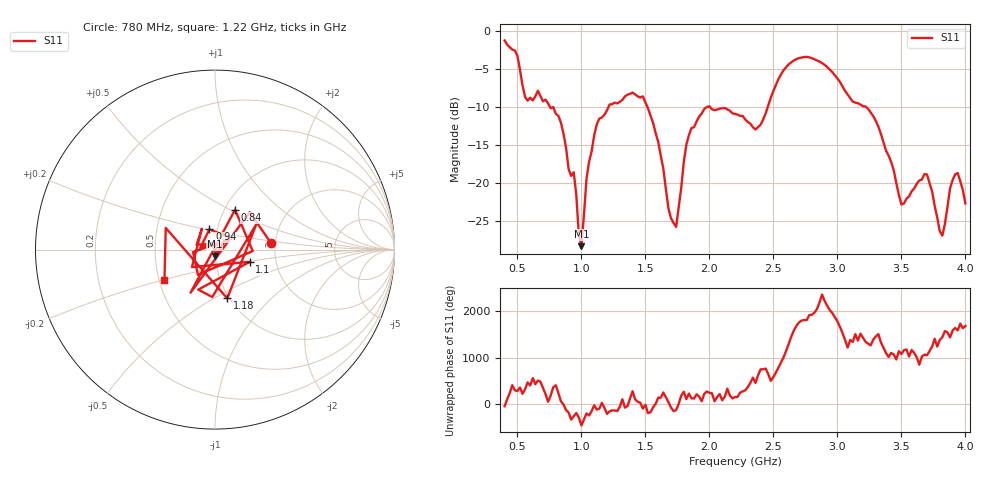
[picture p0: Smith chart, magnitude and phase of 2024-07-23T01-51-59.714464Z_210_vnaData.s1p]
!Created with skrf (http://scikit-rf.org).
# Hz S RI R 50.0
!freq ReS11 ImS11
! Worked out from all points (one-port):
!   181 points, 400 MHz to 4 GHz, reference 50 ohm
!   lowest |S11| = -28.4 dB at 1 GHz (marker M1), VSWR 1.08, Z = 49.8 - j3.8 ohm
!   |S11| at or under -10 dB: 753.9 MHz to 1.212 GHz (458.2 MHz wide, 46.6 % of centre); 1.515 GHz to 1.987 GHz (472.1 MHz wide, 27 % of centre); 3.223 GHz to end of sweep (the widest 3 of 4)
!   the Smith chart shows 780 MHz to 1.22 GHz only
!   S11 on the Smith chart (normalised r, x): 780 MHz: 1.91, +0.15; 840 MHz: 1.12, +0.53; 940 MHz: 0.92, +0.21; 1.1 GHz: 1.46, -0.21; 1.18 GHz: 0.98, -0.58; 1.22 GHz: 0.53, -0.20
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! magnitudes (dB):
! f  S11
! 400 MHz  -1.3
! 580 MHz  -9.2
! 780 MHz  -10.0
! 840 MHz  -12.1
! 860 MHz  -13.5
! 940 MHz  -18.6
! 1 GHz  -28.4
! 1.04 GHz  -19.5
! 1.1 GHz  -13.7
! 1.18 GHz  -11.1
! 1.22 GHz  -9.7
! 1.3 GHz  -9.4
! 1.48 GHz  -8.6
! 1.6 GHz  -14.6
! 1.7 GHz  -24.7
! 1.76 GHz  -23.3
! 1.86 GHz  -12.8
! 2.2 GHz  -10.9
! 2.36 GHz  -13.0
! 2.66 GHz  -3.9
! 3.1 GHz  -8.9
! 3.3 GHz  -11.8
! 3.5 GHz  -22.9
! 3.56 GHz  -21.8
! 3.7 GHz  -18.9
! 3.82 GHz  -27.0
! 3.92 GHz  -18.9
! 4 GHz  -22.7
